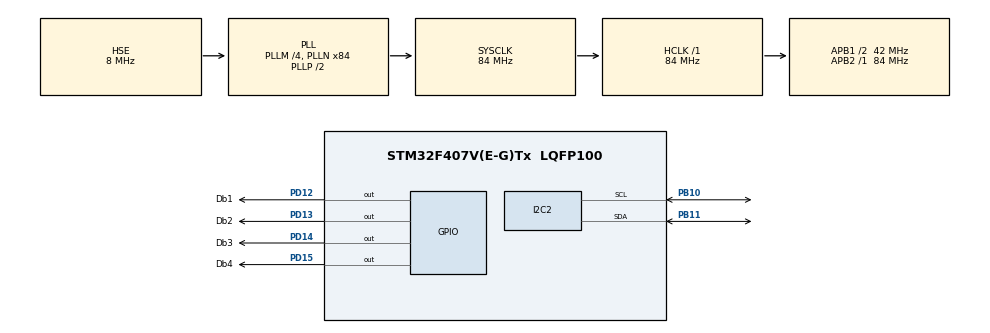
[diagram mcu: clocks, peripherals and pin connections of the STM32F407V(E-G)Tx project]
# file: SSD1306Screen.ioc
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Mcu.Family=STM32F4
Mcu.Name=STM32F407V(E-G)Tx
Mcu.Package=LQFP100
NVIC.PriorityGroup=NVIC_PRIORITYGROUP_4
NVIC.TIM2_IRQn=true\:0\:0\:false\:false\:true\:true\:true
PB10.Mode=I2C
PB10.Signal=I2C2_SCL
PB11.Mode=I2C
PB11.Signal=I2C2_SDA
PD12.GPIO_Label=Db1
PD12.Signal=GPIO_Output
PD13.GPIO_Label=Db2
PD13.Signal=GPIO_Output
PD14.GPIO_Label=Db3
PD14.Signal=GPIO_Output
PD15.GPIO_Label=Db4
PD15.Signal=GPIO_Output
PH0-OSC_IN.Mode=HSE-External-Oscillator
PH0-OSC_IN.Signal=RCC_OSC_IN
PH1-OSC_OUT.Mode=HSE-External-Oscillator
PH1-OSC_OUT.Signal=RCC_OSC_OUT
ProjectManager.HeapSize=0x200
ProjectManager.StackSize=0x400
ProjectManager.TargetToolchain=STM32CubeIDE
RCC.48MHZClocksFreq_Value=42000000
RCC.AHBFreq_Value=84000000
RCC.APB1CLKDivider=RCC_HCLK_DIV2
RCC.APB1Freq_Value=42000000
RCC.APB1TimFreq_Value=84000000
RCC.APB2Freq_Value=84000000
RCC.APB2TimFreq_Value=84000000
RCC.CortexFreq_Value=84000000
RCC.HCLKFreq_Value=84000000
RCC.HSE_VALUE=8000000
RCC.HSI_VALUE=16000000
RCC.LSE_VALUE=32768
RCC.PLLM=4
RCC.PLLN=84
RCC.PLLSourceVirtual=RCC_PLLSOURCE_HSE
RCC.SYSCLKFreq_VALUE=84000000
RCC.SYSCLKSource=RCC_SYSCLKSOURCE_PLLCLK
RCC.VCOOutputFreq_Value=168000000
TIM2.Period=9999
TIM2.Prescaler=83
VP_TIM2_VS_ClockSourceINT.Mode=Internal
board=custom

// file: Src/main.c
/* USER CODE BEGIN Header */
/**
  ******************************************************************************
  * @file           : main.c
  * @brief          : Main program body
  ******************************************************************************
  * @attention
  *
  * <h2><center>&copy; Copyright (c) 2021 STMicroelectronics.
  * All rights reserved.</center></h2>
  *
  * This software component is licensed by ST under BSD 3-Clause license,
  * the "License"; You may not use this file except in compliance with the
  * License. You may obtain a copy of the License at:
  *                        opensource.org/licenses/BSD-3-Clause
  *
  ******************************************************************************
  */
/* USER CODE END Header */

#include "main.h"
#include "SSD1306.h"
#include "bitmap.h"
#include "string.h"

/* USER CODE BEGIN PD */
extern FontSpecification Font_7x10 ;
extern FontSpecification Font_11x18;
extern FontSpecification Font_16x26;

char screenWrite[100];
/* USER CODE END PD */

I2C_HandleTypeDef hi2c2;

TIM_HandleTypeDef htim2;

void SystemClock_Config(void);
static void MX_GPIO_Init(void);
static void MX_I2C2_Init(void);
static void MX_TIM2_Init(void);

int main(void)
{

  /* MCU Configuration--------------------------------------------------------*/

  /* Reset of all peripherals, Initializes the Flash interface and the Systick. */
  HAL_Init();

  /* Configure the system clock */
  SystemClock_Config();

  /* Initialize all configured peripherals */
  MX_GPIO_Init();
  MX_I2C2_Init();
  MX_TIM2_Init();
  /* USER CODE BEGIN 2 */

  SSD_Init();

  writeScreen("SSD1306", Font_7x10,0,0);
  HAL_Delay(1000);
  writeScreen("Screen", Font_11x18,0,10);
  HAL_Delay(1000);
  writeScreen("Examp.", Font_16x26,0,28);
  HAL_Delay(1000);
  screenClear();
  DrawBitmap(0, 0, (unsigned char*)portre, 128, 64);
  verticalScrollRight(0,7,1);
  HAL_Delay(5000);
  scrollActivate(0);  //Close scroll
  screenClear();
  sprintf((char *)screenWrite , "STM32 Screen");
  writeScreen(screenWrite, Font_7x10,0,0);
  sprintf(screenWrite , "SSD%d",1306);
  writeScreen(screenWrite, Font_7x10,0,10);

  /* USER CODE END 2 */

  /* Infinite loop */
  while (1)
  {

  }
}

void SystemClock_Config(void)
{
  RCC_OscInitTypeDef RCC_OscInitStruct = {0};
  RCC_ClkInitTypeDef RCC_ClkInitStruct = {0};

  /** Configure the main internal regulator output voltage
  */
  __HAL_RCC_PWR_CLK_ENABLE();
  __HAL_PWR_VOLTAGESCALING_CONFIG(PWR_REGULATOR_VOLTAGE_SCALE1);
  /** Initializes the CPU, AHB and APB busses clocks
  */
  RCC_OscInitStruct.OscillatorType = RCC_OSCILLATORTYPE_HSE;
  RCC_OscInitStruct.HSEState = RCC_HSE_ON;
  RCC_OscInitStruct.PLL.PLLState = RCC_PLL_ON;
  RCC_OscInitStruct.PLL.PLLSource = RCC_PLLSOURCE_HSE;
  RCC_OscInitStruct.PLL.PLLM = 4;
  RCC_OscInitStruct.PLL.PLLN = 84;
  RCC_OscInitStruct.PLL.PLLP = RCC_PLLP_DIV2;
  RCC_OscInitStruct.PLL.PLLQ = 4;
  if (HAL_RCC_OscConfig(&RCC_OscInitStruct) != HAL_OK)
  {
    Error_Handler();
  }
  /** Initializes the CPU, AHB and APB busses clocks
  */
  RCC_ClkInitStruct.ClockType = RCC_CLOCKTYPE_HCLK|RCC_CLOCKTYPE_SYSCLK
                              |RCC_CLOCKTYPE_PCLK1|RCC_CLOCKTYPE_PCLK2;
  RCC_ClkInitStruct.SYSCLKSource = RCC_SYSCLKSOURCE_PLLCLK;
  RCC_ClkInitStruct.AHBCLKDivider = RCC_SYSCLK_DIV1;
  RCC_ClkInitStruct.APB1CLKDivider = RCC_HCLK_DIV2;
  RCC_ClkInitStruct.APB2CLKDivider = RCC_HCLK_DIV1;

  if (HAL_RCC_ClockConfig(&RCC_ClkInitStruct, FLASH_LATENCY_2) != HAL_OK)
  {
    Error_Handler();
  }
}

static void MX_I2C2_Init(void)
{

  hi2c2.Instance = I2C2;
  hi2c2.Init.ClockSpeed = 100000;
  hi2c2.Init.DutyCycle = I2C_DUTYCYCLE_2;
  hi2c2.Init.OwnAddress1 = 0;
  hi2c2.Init.AddressingMode = I2C_ADDRESSINGMODE_7BIT;
  hi2c2.Init.DualAddressMode = I2C_DUALADDRESS_DISABLE;
  hi2c2.Init.OwnAddress2 = 0;
  hi2c2.Init.GeneralCallMode = I2C_GENERALCALL_DISABLE;
  hi2c2.Init.NoStretchMode = I2C_NOSTRETCH_DISABLE;
  if (HAL_I2C_Init(&hi2c2) != HAL_OK)
  {
    Error_Handler();
  }

}

static void MX_TIM2_Init(void)
{

  TIM_ClockConfigTypeDef sClockSourceConfig = {0};
  TIM_MasterConfigTypeDef sMasterConfig = {0};

  htim2.Instance = TIM2;
  htim2.Init.Prescaler = 83;
  htim2.Init.CounterMode = TIM_COUNTERMODE_UP;
  htim2.Init.Period = 9999;
  htim2.Init.ClockDivision = TIM_CLOCKDIVISION_DIV1;
  htim2.Init.AutoReloadPreload = TIM_AUTORELOAD_PRELOAD_DISABLE;
  if (HAL_TIM_Base_Init(&htim2) != HAL_OK)
  {
    Error_Handler();
  }
  sClockSourceConfig.ClockSource = TIM_CLOCKSOURCE_INTERNAL;
  if (HAL_TIM_ConfigClockSource(&htim2, &sClockSourceConfig) != HAL_OK)
  {
    Error_Handler();
  }
  sMasterConfig.MasterOutputTrigger = TIM_TRGO_RESET;
  sMasterConfig.MasterSlaveMode = TIM_MASTERSLAVEMODE_DISABLE;
  if (HAL_TIMEx_MasterConfigSynchronization(&htim2, &sMasterConfig) != HAL_OK)
  {
    Error_Handler();
  }

}

static void MX_GPIO_Init(void)
{
  GPIO_InitTypeDef GPIO_InitStruct = {0};

  /* GPIO Ports Clock Enable */
  __HAL_RCC_GPIOH_CLK_ENABLE();
  __HAL_RCC_GPIOB_CLK_ENABLE();
  __HAL_RCC_GPIOD_CLK_ENABLE();

  /*Configure GPIO pin Output Level */
  HAL_GPIO_WritePin(GPIOD, Db1_Pin|Db2_Pin|Db3_Pin|Db4_Pin, GPIO_PIN_RESET);

  /*Configure GPIO pins : Db1_Pin Db2_Pin Db3_Pin Db4_Pin */
  GPIO_InitStruct.Pin = Db1_Pin|Db2_Pin|Db3_Pin|Db4_Pin;
  GPIO_InitStruct.Mode = GPIO_MODE_OUTPUT_PP;
  GPIO_InitStruct.Pull = GPIO_NOPULL;
  GPIO_InitStruct.Speed = GPIO_SPEED_FREQ_LOW;
  HAL_GPIO_Init(GPIOD, &GPIO_InitStruct);

}

void Error_Handler(void)
{
}

/************************ (C) COPYRIGHT STMicroelectronics *****END OF FILE****/
